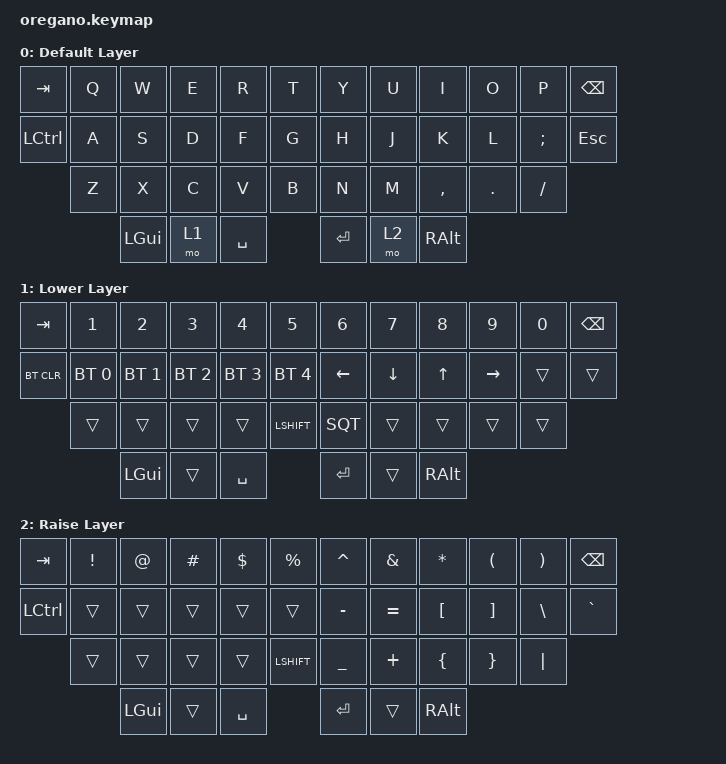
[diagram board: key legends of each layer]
#include <behaviors.dtsi>
#include <dt-bindings/zmk/keys.h>
#include <dt-bindings/zmk/bt.h>

/ {
        keymap {
                compatible = "zmk,keymap";

                default_layer {
                        display-name = "Default Layer";
// -----------------------------------------------------------------------------------------
// |  TAB |  Q  |  W  |  E  |  R  |  T  |   |  Y  |  U   |  I  |  O  |  P  | BSPC |
// | CTRL |  A  |  S  |  D  |  F  |  G  |   |  H  |  J   |  K  |  L  |  ;  | ESC  |
//        |  Z  |  X  |  C  |  V  |  B  |   |  N  |  M   |  ,  |  .  |  /  |       
//                    | GUI | LWR | SPC |   | ENT | RSE  | ALT |
                        bindings = <
   &kp TAB   &kp Q &kp W &kp E &kp R &kp T   &kp Y &kp U  &kp I     &kp O   &kp P    &kp BSPC
   &kp LCTRL &kp A &kp S &kp D &kp F &kp G   &kp H &kp J  &kp K     &kp L   &kp SEMI &kp ESC
             &kp Z &kp X &kp C &kp V &kp B   &kp N &kp M  &kp COMMA &kp DOT &kp FSLH        
                  &kp LGUI &mo 1 &kp SPACE   &kp RET &mo 2 &kp RALT
                        >;
                };
                lower_layer {
                        display-name = "Lower Layer";
// -----------------------------------------------------------------------------------------
// |  TAB |  1  |  2  |  3  |  4  |  5  |   |  6  |  7  |  8  |  9  |  0  | BSPC |
// | BTCLR| BT1 | BT2 | BT3 | BT4 | BT5 |   | LFT | DWN |  UP | RGT |     |      |
//        |     |     |     |     | SFT |   |  '  |     |     |     |     |       
//                    | GUI |     | SPC |   | ENT |     | ALT |
                        bindings = <
   &kp TAB    &kp N1       &kp N2       &kp N3       &kp N4       &kp N5             &kp N6   &kp N7   &kp N8 &kp N9    &kp N0 &kp BSPC
   &bt BT_CLR &bt BT_SEL 0 &bt BT_SEL 1 &bt BT_SEL 2 &bt BT_SEL 3 &bt BT_SEL 4       &kp LEFT &kp DOWN &kp UP &kp RIGHT &trans &trans
              &trans       &trans       &trans       &trans       &LSHIFT            &SQT     &trans   &trans &trans    &trans       
                                        &kp LGUI     &trans       &kp SPACE          &kp RET  &trans   &kp RALT
                        >;
                };

                raise_layer {
                        display-name = "Raise Layer";
// -----------------------------------------------------------------------------------------
// |  TAB |  !  |  @  |  #  |  $  |  %  |   |  ^  |  &  |  *  |  (  |  )  | BSPC |
// | CTRL |     |     |     |     |     |   |  -  |  =  |  [  |  ]  |  \  |  `   |
//        |     |     |     |     | SFT |   |  _  |  +  |  {  |  }  | "|" |       
//                    | GUI |     | SPC |   | ENT |     | ALT |
                        bindings = <
   &kp  TAB  &kp EXCL &kp AT &kp HASH &kp DLLR &kp PRCNT   &kp CARET &kp AMPS  &kp ASTRK &kp LPAR &kp RPAR &kp BSPC
   &kp LCTRL &trans   &trans &trans   &trans   &trans      &kp MINUS &kp EQUAL &kp LBKT  &kp RBKT &kp BSLH &kp GRAVE
             &trans   &trans &trans   &trans   &LSHIFT     &kp UNDER &kp PLUS  &kp LBRC  &kp RBRC &kp PIPE          
                             &kp LGUI &trans   &kp SPACE   &kp RET   &trans    &kp RALT
                        >;
                };
        };
};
